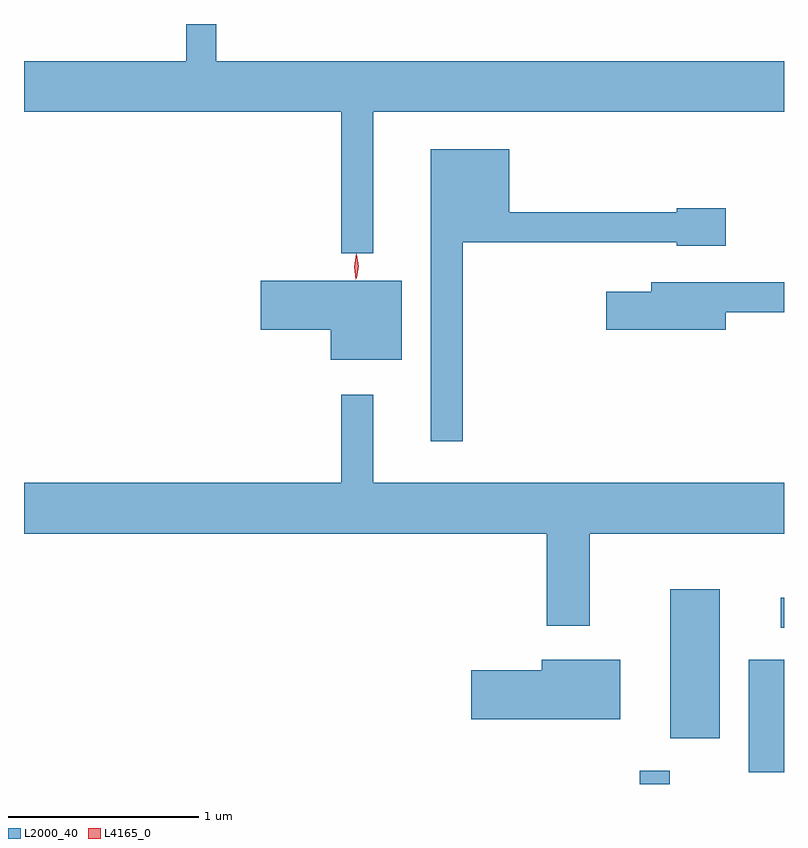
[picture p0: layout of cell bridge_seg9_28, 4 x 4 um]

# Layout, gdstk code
import gdstk
lib = gdstk.Library(unit=1e-6, precision=1e-09)
def R(c, l, rs):  # rectangles x0, y0, x1, y1
    for r in rs: c.add(gdstk.rectangle(r[:2], r[2:], *l))
def P(c, l, *ps):  # polygons
    for p in ps: c.add(gdstk.Polygon(p, *l))
L2000_40 = (2000, 40)
L4165_0 = (4165, 0)

bridge_seg9_28 = lib.new_cell('bridge_seg9_28')
R(bridge_seg9_28, L2000_40, [(1582.221,2065.979,1582.379,2066.048), (1582.796,2066.041,1582.981,2066.634), (1582.381,2066.221,1582.644,2067.004), (1582.963,2066.801,1582.981,2066.959)])
P(bridge_seg9_28, L2000_40, [(1580.819,2069.516),(1582.981,2069.516),(1582.981,2069.784),(1579.994,2069.784),(1579.994,2069.979),(1579.836,2069.979),(1579.836,2069.784),(1578.981,2069.784),(1578.981,2069.516),(1580.651,2069.516),(1580.651,2068.773),(1580.819,2068.773)],
  [(1581.289,2068.831),(1582.416,2068.831),(1582.416,2068.811),(1582.674,2068.811),(1582.674,2069.009),(1582.416,2069.009),(1582.416,2068.989),(1581.534,2068.989),(1581.534,2069.319),(1581.121,2069.319),(1581.121,2067.783),(1581.289,2067.783)],
  [(1580.969,2068.629),(1580.226,2068.629),(1580.226,2068.371),(1580.596,2068.371),(1580.596,2068.211),(1580.969,2068.211)],
  [(1582.674,2068.461),(1582.981,2068.461),(1582.981,2068.619),(1582.281,2068.619),(1582.281,2068.569),(1582.046,2068.569),(1582.046,2068.371),(1582.674,2068.371)],
  [(1581.959,2067.296),(1582.981,2067.296),(1582.981,2067.564),(1580.819,2067.564),(1580.819,2068.028),(1580.651,2068.028),(1580.651,2067.564),(1578.981,2067.564),(1578.981,2067.296),(1581.731,2067.296),(1581.731,2066.811),(1581.959,2066.811)],
  [(1582.119,2066.634),(1581.706,2066.634),(1581.706,2066.579),(1581.336,2066.579),(1581.336,2066.321),(1582.119,2066.321)])
P(bridge_seg9_28, L4165_0, [(1580.732,2068.64),(1580.732,2068.64),(1580.722,2068.703),(1580.732,2068.766),(1580.732,2068.767),(1580.733,2068.766),(1580.742,2068.703),(1580.733,2068.64)],
  [(1580.727,2068.634),(1580.719,2068.702),(1580.729,2068.77),(1580.73,2068.77),(1580.73,2068.77),(1580.739,2068.702),(1580.728,2068.634),(1580.728,2068.634)])

lib.write_gds('bridge_seg9_28.gds')
